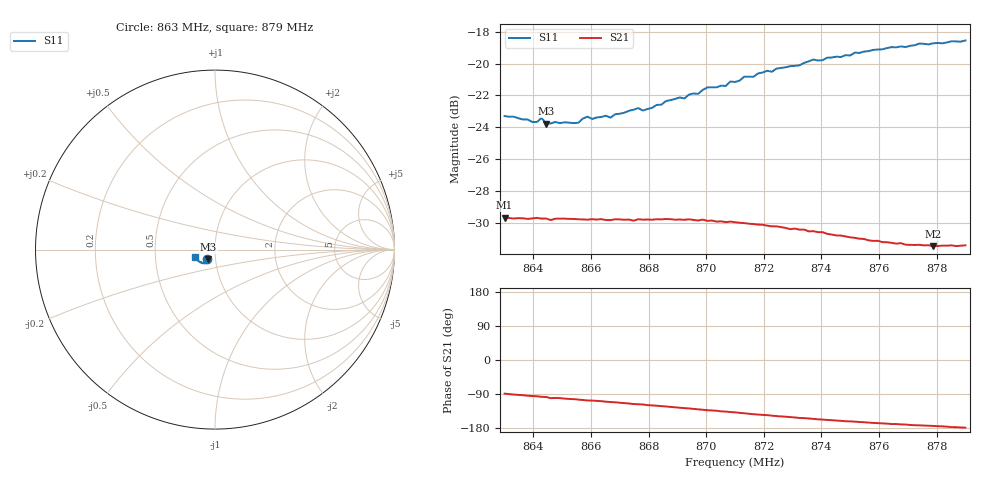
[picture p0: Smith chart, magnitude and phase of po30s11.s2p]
# HZ S RI R 50
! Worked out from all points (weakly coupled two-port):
!   101 points, 863 MHz to 879 MHz, reference 50 ohm
!   highest |S21| = -29.68 dB at 863 MHz (marker M1); lowest = -31.5 dB at 877.88 MHz (marker M2)
!   lowest |S11| = -23.8 dB at 864.44 MHz (marker M3), VSWR 1.14, Z = 46.2 - j4.97 ohm
!   |S11| at or under -10 dB: start of sweep to end of sweep
!   S12 and S22 are empty: the file has one direction only
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8.63e8  -0.0438 -0.0526  0.000712 -0.0328  0 0  0 0
8.6396e8  -0.0388 -0.0529  -0.00296 -0.0325  0 0  0 0
8.6428e8  -0.0383 -0.0556  -0.00409 -0.0324  0 0  0 0
8.6444e8  -0.0365 -0.0535  -0.00433 -0.0323  0 0  0 0
8.6556e8  -0.0347 -0.0552  -0.00808 -0.0314  0 0  0 0
8.6572e8  -0.0343 -0.0578  -0.00871 -0.0312  0 0  0 0
8.6668e8  -0.0329 -0.0591  -0.0115 -0.0301  0 0  0 0
8.6764e8  -0.0349 -0.0635  -0.0146 -0.029  0 0  0 0
8.678e8  -0.0346 -0.0622  -0.0149 -0.0287  0 0  0 0
8.6844e8  -0.0345 -0.0658  -0.017 -0.0276  0 0  0 0
8.686e8  -0.0358 -0.0673  -0.0175 -0.0274  0 0  0 0
8.6972e8  -0.0392 -0.0701  -0.0207 -0.0246  0 0  0 0
8.7004e8  -0.0427 -0.0725  -0.0217 -0.0236  0 0  0 0
8.7068e8  -0.0436 -0.073  -0.0229 -0.022  0 0  0 0
8.7084e8  -0.0471 -0.0741  -0.0235 -0.0216  0 0  0 0
8.71e8  -0.0469 -0.0739  -0.0236 -0.0212  0 0  0 0
8.7132e8  -0.0496 -0.0762  -0.0244 -0.02  0 0  0 0
8.7164e8  -0.051 -0.0752  -0.025 -0.0188  0 0  0 0
8.7372e8  -0.0694 -0.076  -0.0271 -0.0124  0 0  0 0
8.7644e8  -0.0936 -0.0627  -0.0269 -0.00521  0 0  0 0
8.7788e8  -0.1047 -0.0494  -0.0266 -0.00279  0 0  0 0
8.79e8  -0.1114 -0.0393  -0.0269 -0.000697  0 0  0 0
